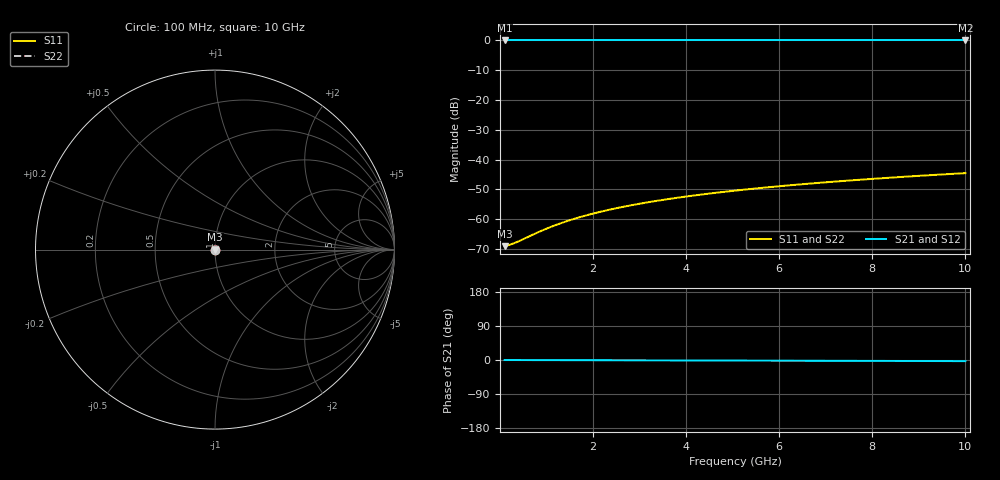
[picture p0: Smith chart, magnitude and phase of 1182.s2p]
# Hz S RI R 50.00
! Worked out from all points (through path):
!   100 points, 100 MHz to 10 GHz, reference 50 ohm
!   highest |S21| = 0.00 dB at 100 MHz (marker M1); lowest = 0.0 dB at 10 GHz (marker M2)
!   lowest |S11| = -69.1 dB at 100 MHz (marker M3), VSWR 1.00, Z = 50 + j0.00589 ohm
!   |S11| at or under -10 dB: start of sweep to end of sweep
!   |S22| runs from -69.1 to -44.6 dB; largest |S21 - S12| = 0
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1e8  0.000345 5.89e-05  0.9997 -0.000515  0.9997 -0.000515  0.000345 5.89e-05
2e8  0.000347 0.000118  0.9997 -0.00103  0.9997 -0.00103  0.000347 0.000118
3e8  0.000349 0.000177  0.9996 -0.00154  0.9996 -0.00154  0.000349 0.000177
4e8  0.00035 0.000236  0.9996 -0.00206  0.9996 -0.00206  0.00035 0.000236
7e8  0.000354 0.000412  0.9996 -0.0036  0.9996 -0.0036  0.000354 0.000412
9e8  0.000356 0.00053  0.9996 -0.00463  0.9996 -0.00463  0.000356 0.00053
1.2e9  0.00036 0.000706  0.9996 -0.00618  0.9996 -0.00618  0.00036 0.000706
1.5e9  0.000363 0.000883  0.9996 -0.00772  0.9996 -0.00772  0.000363 0.000883
1.8e9  0.000367 0.00106  0.9996 -0.00927  0.9996 -0.00927  0.000367 0.00106
2.1e9  0.000372 0.00124  0.9996 -0.0108  0.9996 -0.0108  0.000372 0.00124
2.5e9  0.000379 0.00147  0.9995 -0.0129  0.9995 -0.0129  0.000379 0.00147
2.9e9  0.000386 0.00171  0.9995 -0.0149  0.9995 -0.0149  0.000386 0.00171
3.4e9  0.000397 0.002  0.9995 -0.0175  0.9995 -0.0175  0.000397 0.002
3.8e9  0.000406 0.00223  0.9994 -0.0196  0.9994 -0.0196  0.000406 0.00223
4.2e9  0.000417 0.00247  0.9994 -0.0216  0.9994 -0.0216  0.000417 0.00247
4.6e9  0.000428 0.0027  0.9993 -0.0237  0.9993 -0.0237  0.000428 0.0027
5.1e9  0.000444 0.003  0.9993 -0.0263  0.9993 -0.0263  0.000444 0.003
5.9e9  0.000472 0.00346  0.9991 -0.0304  0.9991 -0.0304  0.000472 0.00346
6.7e9  0.000504 0.00393  0.999 -0.0345  0.999 -0.0345  0.000504 0.00393
7.5e9  0.00054 0.0044  0.9988 -0.0387  0.9988 -0.0387  0.00054 0.0044
8.4e9  0.000585 0.00493  0.9986 -0.0433  0.9986 -0.0433  0.000585 0.00493
1e10  0.000677 0.00586  0.9982 -0.0516  0.9982 -0.0516  0.000677 0.00586
